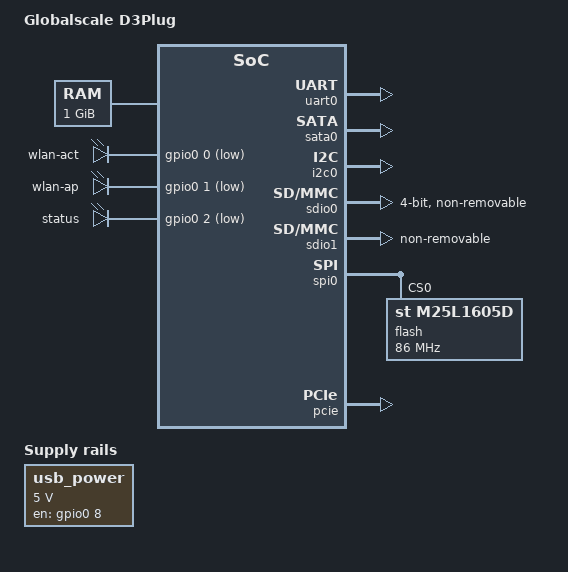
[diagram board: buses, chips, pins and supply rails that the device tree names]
// SPDX-License-Identifier: GPL-2.0
/dts-v1/;

#include "dove.dtsi"

/ {
	model = "Globalscale D3Plug";
	compatible = "globalscale,d3plug", "marvell,dove";

	memory {
		device_type = "memory";
		reg = <0x00000000 0x40000000>;
	};

	chosen {
		bootargs = "console=ttyS0,115200n8 earlyprintk root=/dev/mmcblk0p2 rw rootwait";
	};

	leds {
		compatible = "gpio-leds";
		pinctrl-0 = <&pmx_gpio_0 &pmx_gpio_1 &pmx_gpio_2>;
		pinctrl-names = "default";

		wlan-act {
			label = "wlan-act";
			gpios = <&gpio0 0 1>;
		};

		wlan-ap {
			label = "wlan-ap";
			gpios = <&gpio0 1 1>;
		};

		status {
			label = "status";
			gpios = <&gpio0 2 1>;
		};
	};

	regulators {
		compatible = "simple-bus";
		#address-cells = <1>;
		#size-cells = <0>;

		usb_power: regulator@1 {
			compatible = "regulator-fixed";
			reg = <1>;
			regulator-name = "USB Power";
			regulator-min-microvolt = <5000000>;
			regulator-max-microvolt = <5000000>;
			enable-active-high;
			regulator-always-on;
			regulator-boot-on;
			gpio = <&gpio0 8 0>;
			pinctrl-0 = <&pmx_gpio_8>;
			pinctrl-names = "default";
		};
	};
};

&uart0 { status = "okay"; };
&sata0 { status = "okay"; };
&i2c0 { status = "okay"; };

/* Samsung M8G2F eMMC */
&sdio0 {
	status = "okay";
	non-removable;
	bus-width = <4>;
};

/* Marvell SD8787 WLAN/BT */
&sdio1 {
	status = "okay";
	non-removable;
};

&spi0 {
	status = "okay";

	/* spi0.0: 2M Flash Macronix MX25L1605D */
	flash@0 {
		compatible = "st,m25l1605d";
		spi-max-frequency = <86000000>;
		reg = <0>;
	};
};

&pcie {
	status = "okay";
	/* Fresco Logic USB3.0 xHCI controller */
	pcie@1 {
		status = "okay";
		reset-gpios = <&gpio0 26 1>;
		reset-delay-us = <20000>;
		pinctrl-0 = <&pmx_camera_gpio>;
		pinctrl-names = "default";
	};
	/* Mini-PCIe slot */
	pcie@2 {
		status = "okay";
		reset-gpios = <&gpio0 25 1>;
	};
};
